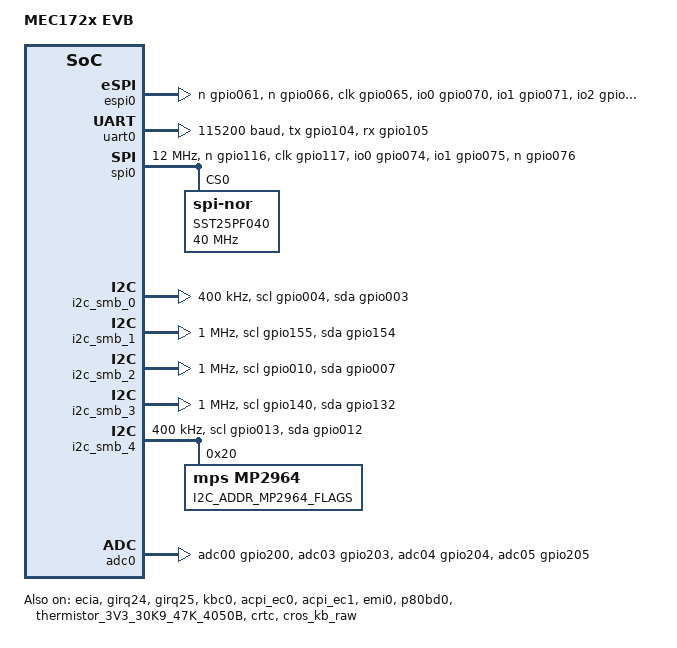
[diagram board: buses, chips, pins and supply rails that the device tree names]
/* Copyright 2021 Microchip Technology Inc. All rights reserved.
 * Use of this source code is governed by a BSD-style license that can be
 * found in the LICENSE file.
 */

/dts-v1/;

#include <cros/microchip/mec1727.dtsi>
#include <cros/thermistor/thermistor.dtsi>
#include <dt-bindings/gpio_defines.h>
#include <microchip/mec172xnsz.dtsi>
#include <microchip/mec172x/mec172xnsz-pinctrl.dtsi>

/ {
	model = "MEC172x EVB";

	chosen {
		zephyr,sram = &sram0;
		zephyr,console = &uart0;
		zephyr,shell-uart = &uart0;
		zephyr,flash = &flash0;
		zephyr,flash-controller = &int_flash;
	};

	named-i2c-ports {
		compatible = "named-i2c-ports";
		i2c_sensor: sensor {
			i2c-port = <&i2c_smb_0>;
			enum-name = "I2C_PORT_SENSOR";
		};
		tcpc0_2 {
			i2c-port = <&i2c_smb_1>;
			enum-name = "I2C_PORT_USB_C0_C2_TCPC";
		};
		tcpc1 {
			i2c-port = <&i2c_smb_2>;
			enum-name = "I2C_PORT_USB_C1_TCPC";
		};
		ppc0_2 {
			i2c-port = <&i2c_smb_3>;
			enum-name = "I2C_PORT_USB_C0_C2_PPC";
		};
		ppc1 {
			i2c-port = <&i2c_smb_3>;
			enum-name = "I2C_PORT_USB_C1_PPC";
		};
		retimer0_2 {
			i2c-port = <&i2c_smb_3>;
			enum-name = "I2C_PORT_USB_C0_C2_MUX";
		};
		battery {
			i2c-port = <&i2c_smb_0>;
			enum-name = "I2C_PORT_BATTERY";
		};
		eeprom {
			i2c-port = <&i2c_smb_4>;
			enum-name = "I2C_PORT_EEPROM";
		};
		charger {
			i2c-port = <&i2c_smb_4>;
			enum-name = "I2C_PORT_CHARGER";
		};
		mp2964 {
			i2c-port = <&i2c_smb_4>;
			enum-name = "I2C_PORT_MP2964";
		};
	};

	named-pwms {
		compatible = "named-pwms";
	};

	named-adc-channels {
		compatible = "named-adc-channels";

		adc_ddr_soc: ddr_soc {
			label = "TEMP_DDR_SOC";
			enum-name = "ADC_TEMP_SENSOR_1_DDR_SOC";
			io-channels = <&adc0 5>;
		};
		adc_ambient: ambient {
			label = "TEMP_AMBIENT";
			enum-name = "ADC_TEMP_SENSOR_2_AMBIENT";
			io-channels = <&adc0 3>;
		};
		adc_charger: charger {
			label = "TEMP_CHARGER";
			enum-name = "ADC_TEMP_SENSOR_3_CHARGER";
			io-channels = <&adc0 0>;
		};
		adc_wwan: wwan {
			label = "TEMP_WWAN";
			enum-name = "ADC_TEMP_SENSOR_4_WWAN";
			io-channels = <&adc0 4>;
		};
	};

	named-temp-sensors {
		ddr_soc {
			compatible = "cros-ec,temp-sensor-thermistor";
			thermistor = <&thermistor_3V3_30K9_47K_4050B>;
			label = "DDR and SOC";
			enum-name = "TEMP_SENSOR_1_DDR_SOC";
			temp_fan_off = <35>;
			temp_fan_max = <60>;
			temp_host_high = <85>;
			temp_host_halt = <90>;
			temp_host_release_high = <80>;
			adc = <&adc_ddr_soc>;
		};
		ambient {
			compatible = "cros-ec,temp-sensor-thermistor";
			thermistor = <&thermistor_3V3_30K9_47K_4050B>;
			label = "Ambient";
			enum-name = "TEMP_SENSOR_2_AMBIENT";
			temp_fan_off = <35>;
			temp_fan_max = <60>;
			temp_host_high = <85>;
			temp_host_halt = <90>;
			temp_host_release_high = <80>;
			adc = <&adc_ambient>;
		};
		charger {
			compatible = "cros-ec,temp-sensor-thermistor";
			thermistor = <&thermistor_3V3_30K9_47K_4050B>;
			label = "Charger";
			enum-name = "TEMP_SENSOR_3_CHARGER";
			temp_fan_off = <35>;
			temp_fan_max = <65>;
			temp_host_high = <105>;
			temp_host_halt = <120>;
			temp_host_release_high = <90>;
			adc = <&adc_charger>;
		};
		wwan {
			compatible = "cros-ec,temp-sensor-thermistor";
			thermistor = <&thermistor_3V3_30K9_47K_4050B>;
			label = "WWAN";
			enum-name = "TEMP_SENSOR_4_WWAN";
			temp_fan_off = <35>;
			temp_fan_max = <60>;
			temp_host_high = <130>;
			temp_host_halt = <130>;
			temp_host_release_high = <100>;
			adc = <&adc_wwan>;
		};
	};

	soc {
		/delete-node/ rtc@400f5000;
		/delete-node/ kscan@40009c00;

		crtc: cros-rtc@400f5000 {
			compatible = "microchip,xec-cros-rtc";
			reg = <0x400f5000 0x100>;
			interrupts = <119 0>, <120 0>;
			label = "CRTC";
		};

		cros_kb_raw: cros-kb-raw@40009c00 {
			compatible = "microchip,xec-cros-kb-raw";
			reg = <0x40009c00 0x18>;
			label = "CROS_KB_RAW_0";
			interrupts = <135 4>;
		};
	};
};

&cpu0 {
	status = "okay";
/* cpu-power-states = <&suspend_to_idle_instant &suspend_to_idle_normal>; */
};

&bbram {
	status = "okay";
};

&ecia {
	status = "okay";
};

/* Enable aggregated GIRQ24/25 for eSPI virtual wires */
&girq24 {
	status = "okay";
};

&girq25 {
	status = "okay";
};

&espi0 {
	status = "okay";
	pinctrl-0 = <&espi_reset_n_gpio061
		     &espi_cs_n_gpio066
		     &espi_clk_gpio065
		     &espi_io0_gpio070
		     &espi_io1_gpio071
		     &espi_io2_gpio072
		     &espi_io3_gpio073>;
	pinctrl-names = "default";
};

/* Host facing devices on eSPI bus */
&kbc0 {
	status = "okay";
};

&acpi_ec0 {
	status = "okay";
};

&acpi_ec1 {
	status = "okay";
};

&emi0 {
	status = "okay";
};

&p80bd0 {
	status = "okay";
};

&crtc {
	status = "okay";
};

&uart0 {
	status = "okay";
	current-speed = <115200>;
	pinctrl-0 = <&uart0_tx_gpio104 &uart0_rx_gpio105>;
	pinctrl-names = "default";
};

&spi0 {
	status = "okay";
	clock-frequency = <12000000>;
	lines = <2>;
	port-sel = <2>;
	chip-select = <0>;
	pinctrl-0 = < &gpspi_cs_n_gpio116
		      &gpspi_clk_gpio117
		      &gpspi_io0_gpio074
		      &gpspi_io1_gpio075
		      &gpspi_wp_n_gpio076 >;
	pinctrl-names = "default";

	int_flash: sst25pf040@0 {
		compatible ="jedec,spi-nor";
		/*  4194304 bits = 512K Bytes */
		size = <0x400000>;
		label = "SST25PF040";
		reg = <0>;
		spi-max-frequency = <40000000>;
		status = "okay";
		jedec-id = [62 06 13];
	};
};

&i2c_smb_0 {
	status = "okay";
	clock-frequency = <I2C_BITRATE_FAST>;
	port_sel = <0>;
	pinctrl-0 = <&i2c00_scl_gpio004 &i2c00_sda_gpio003>;
	pinctrl-names = "default";
};

&i2c_smb_1 {
	status = "okay";
	clock-frequency = <I2C_BITRATE_FAST_PLUS>;
	port_sel = <2>;
	pinctrl-0 = <&i2c02_scl_gpio155 &i2c02_sda_gpio154>;
	pinctrl-names = "default";
};

&i2c_smb_2 {
	status = "okay";
	clock-frequency = <I2C_BITRATE_FAST_PLUS>;
	port_sel = <3>;
	pinctrl-0 = <&i2c03_scl_gpio010 &i2c03_sda_gpio007>;
	pinctrl-names = "default";
};

&i2c_smb_3 {
	status = "okay";
	clock-frequency = <I2C_BITRATE_FAST_PLUS>;
	port_sel = <6>;
	pinctrl-0 = <&i2c06_scl_gpio140 &i2c06_sda_gpio132>;
	pinctrl-names = "default";
};

&i2c_smb_4 {
	status = "okay";
	clock-frequency = <I2C_BITRATE_FAST>;
	port_sel = <7>;
	pinctrl-0 = <&i2c07_scl_gpio013 &i2c07_sda_gpio012>;
	pinctrl-names = "default";

	pmic_mp2964: pmic_mp2964@20 {
		compatible = "mps,mp2964";
		reg = <0x20>;
		label = "I2C_ADDR_MP2964_FLAGS";
	};
};

&cros_kb_raw {
	status = "okay";
	/*
	 * No KSO2 (It's inverted and implemented by GPIO for
	 * CONFIG_KEYBOARD_COL2_INVERTED.)
	 */
	pinctrl-0 = <&ksi0_gpio017
		     &ksi1_gpio020
		     &ksi3_gpio026
		     &ksi4_gpio027
		     &ksi5_gpio030
		     &ksi6_gpio031
		     &ksi7_gpio032
		     &kso00_gpio040
		     &kso01_gpio045
		     &kso02_gpio046
		     &kso03_gpio047
		     &kso04_gpio107
		     &kso05_gpio112
		     &kso06_gpio113
		     &kso07_gpio120
		     &kso08_gpio121
		     &kso09_gpio122
		     &kso10_gpio123
		     &kso11_gpio124
		     &kso12_gpio125
		     &kso13_gpio126
		     &kso14_gpio152
		     &kso15_gpio151
		     &kso16_gpio132
		     &kso17_gpio140>;
	pinctrl-names = "default";
};

&adc0 {
	status = "okay";
	pinctrl-0 = <&adc00_gpio200
		     &adc03_gpio203
		     &adc04_gpio204
		     &adc05_gpio205>;
	pinctrl-names = "default";
};

&thermistor_3V3_30K9_47K_4050B {
	status = "okay";
};
